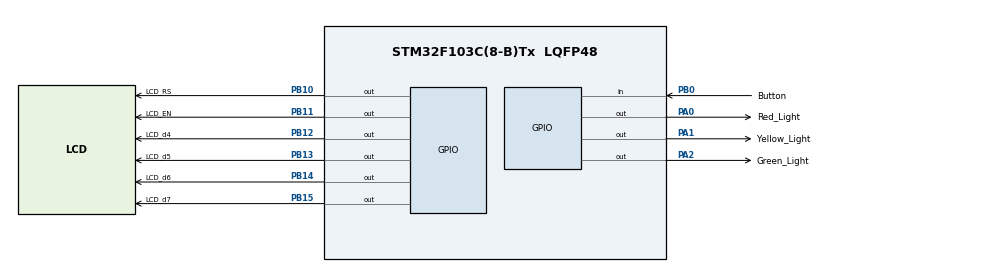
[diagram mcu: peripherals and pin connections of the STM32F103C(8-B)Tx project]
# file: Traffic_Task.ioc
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Mcu.Family=STM32F1
Mcu.Name=STM32F103C(8-B)Tx
Mcu.Package=LQFP48
NVIC.PriorityGroup=NVIC_PRIORITYGROUP_4
PA0-WKUP.GPIO_Label=Red_Light
PA0-WKUP.Signal=GPIO_Output
PA1.GPIO_Label=Yellow_Light
PA1.Signal=GPIO_Output
PA2.GPIO_Label=Green_Light
PA2.Signal=GPIO_Output
PB0.GPIO_Label=Button
PB0.Signal=GPIO_Input
PB10.GPIO_Label=LCD_RS
PB10.Signal=GPIO_Output
PB11.GPIO_Label=LCD_EN
PB11.Signal=GPIO_Output
PB12.GPIO_Label=LCD_d4
PB12.Signal=GPIO_Output
PB13.GPIO_Label=LCD_d5
PB13.Signal=GPIO_Output
PB14.GPIO_Label=LCD_d6
PB14.Signal=GPIO_Output
PB15.GPIO_Label=LCD_d7
PB15.Signal=GPIO_Output
ProjectManager.HeapSize=0x200
ProjectManager.StackSize=0x400
ProjectManager.TargetToolchain=STM32CubeIDE
RCC.APB1Freq_Value=8000000
RCC.APB2Freq_Value=8000000
board=custom

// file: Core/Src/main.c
/* USER CODE BEGIN Header */
/**
  ******************************************************************************
  * @file           : main.c
  * @brief          : Main program body
  ******************************************************************************
  * @attention
  *
  * Copyright (c) 2025 STMicroelectronics.
  * All rights reserved.
  *
  * This software is licensed under terms that can be found in the LICENSE file
  * in the root directory of this software component.
  * If no LICENSE file comes with this software, it is provided AS-IS.
  *
  ******************************************************************************
  */
/* USER CODE END Header */
#include "main.h"
#include "../../ECUAL/LCD16X2/LCD16X2.h"

void SystemClock_Config(void);
static void MX_GPIO_Init(void);

int main(void)
{

  /* MCU Configuration--------------------------------------------------------*/

  /* Reset of all peripherals, Initializes the Flash interface and the Systick. */
  HAL_Init();

  /* Configure the system clock */
  SystemClock_Config();

  /* Initialize all configured peripherals */
  MX_GPIO_Init();
  /* USER CODE BEGIN 2 */
 LCD16X2_Init(LCD16X2_1);
 LCD16X2_Clear(LCD16X2_1);
 LCD16X2_Set_Cursor(LCD16X2_1, 0, 0);
 LCD16X2_Write_String(LCD16X2_1,"System OFF");
  /* USER CODE END 2 */

  /* Infinite loop */
  while (1)
  {

    /* USER CODE BEGIN 3 */
	  if (HAL_GPIO_ReadPin(Button_GPIO_Port, Button_Pin) == 1)
	  {
		  HAL_GPIO_WritePin(Red_Light_GPIO_Port,Red_Light_Pin,1);
		  LCD16X2_Clear(LCD16X2_1);
		   LCD16X2_Set_Cursor(LCD16X2_1, 0, 0);
		   LCD16X2_Write_String(LCD16X2_1,"Red Light!");
		   HAL_Delay(2000);
		   HAL_GPIO_WritePin(Red_Light_GPIO_Port,Red_Light_Pin,0);

		   HAL_GPIO_WritePin(Yellow_Light_GPIO_Port,Yellow_Light_Pin,1);
		   		   LCD16X2_Clear(LCD16X2_1);
		   		   LCD16X2_Set_Cursor(LCD16X2_1, 0, 0);
		   		   LCD16X2_Write_String(LCD16X2_1,"Yellow Light!");
		   		   HAL_Delay(2000);
		   		   HAL_GPIO_WritePin(Yellow_Light_GPIO_Port,Yellow_Light_Pin,0);

		   		HAL_GPIO_WritePin(Green_Light_GPIO_Port,Green_Light_Pin,1);
		   				   		   LCD16X2_Clear(LCD16X2_1);
		   				   		   LCD16X2_Set_Cursor(LCD16X2_1, 0, 0);
		   				   		   LCD16X2_Write_String(LCD16X2_1,"Green Light!");
		   				   		   HAL_Delay(2000);
		   				   		   HAL_GPIO_WritePin(Green_Light_GPIO_Port,Green_Light_Pin,0);
		   				   		   LCD16X2_Clear(LCD16X2_1);

		   				   		LCD16X2_Write_String(LCD16X2_1,"System OFF");

	  }
	  else {HAL_GPIO_WritePin(Red_Light_GPIO_Port,Red_Light_Pin,0);
		   HAL_GPIO_WritePin(Yellow_Light_GPIO_Port,Yellow_Light_Pin,0);
		   HAL_GPIO_WritePin(Green_Light_GPIO_Port,Green_Light_Pin,0);}
  }
  /* USER CODE END 3 */
}

void SystemClock_Config(void)
{
  RCC_OscInitTypeDef RCC_OscInitStruct = {0};
  RCC_ClkInitTypeDef RCC_ClkInitStruct = {0};

  /** Initializes the RCC Oscillators according to the specified parameters
  * in the RCC_OscInitTypeDef structure.
  */
  RCC_OscInitStruct.OscillatorType = RCC_OSCILLATORTYPE_HSI;
  RCC_OscInitStruct.HSIState = RCC_HSI_ON;
  RCC_OscInitStruct.HSICalibrationValue = RCC_HSICALIBRATION_DEFAULT;
  RCC_OscInitStruct.PLL.PLLState = RCC_PLL_NONE;
  if (HAL_RCC_OscConfig(&RCC_OscInitStruct) != HAL_OK)
  {
    Error_Handler();
  }

  /** Initializes the CPU, AHB and APB buses clocks
  */
  RCC_ClkInitStruct.ClockType = RCC_CLOCKTYPE_HCLK|RCC_CLOCKTYPE_SYSCLK
                              |RCC_CLOCKTYPE_PCLK1|RCC_CLOCKTYPE_PCLK2;
  RCC_ClkInitStruct.SYSCLKSource = RCC_SYSCLKSOURCE_HSI;
  RCC_ClkInitStruct.AHBCLKDivider = RCC_SYSCLK_DIV1;
  RCC_ClkInitStruct.APB1CLKDivider = RCC_HCLK_DIV1;
  RCC_ClkInitStruct.APB2CLKDivider = RCC_HCLK_DIV1;

  if (HAL_RCC_ClockConfig(&RCC_ClkInitStruct, FLASH_LATENCY_0) != HAL_OK)
  {
    Error_Handler();
  }
}

static void MX_GPIO_Init(void)
{
  GPIO_InitTypeDef GPIO_InitStruct = {0};

  /* GPIO Ports Clock Enable */
  __HAL_RCC_GPIOA_CLK_ENABLE();
  __HAL_RCC_GPIOB_CLK_ENABLE();

  /*Configure GPIO pin Output Level */
  HAL_GPIO_WritePin(GPIOA, Red_Light_Pin|Yellow_Light_Pin|Green_Light_Pin, GPIO_PIN_RESET);

  /*Configure GPIO pin Output Level */
  HAL_GPIO_WritePin(GPIOB, LCD_RS_Pin|LCD_EN_Pin|LCD_d4_Pin|LCD_d5_Pin
                          |LCD_d6_Pin|LCD_d7_Pin, GPIO_PIN_RESET);

  /*Configure GPIO pins : Red_Light_Pin Yellow_Light_Pin Green_Light_Pin */
  GPIO_InitStruct.Pin = Red_Light_Pin|Yellow_Light_Pin|Green_Light_Pin;
  GPIO_InitStruct.Mode = GPIO_MODE_OUTPUT_PP;
  GPIO_InitStruct.Pull = GPIO_NOPULL;
  GPIO_InitStruct.Speed = GPIO_SPEED_FREQ_LOW;
  HAL_GPIO_Init(GPIOA, &GPIO_InitStruct);

  /*Configure GPIO pin : Button_Pin */
  GPIO_InitStruct.Pin = Button_Pin;
  GPIO_InitStruct.Mode = GPIO_MODE_INPUT;
  GPIO_InitStruct.Pull = GPIO_NOPULL;
  HAL_GPIO_Init(Button_GPIO_Port, &GPIO_InitStruct);

  /*Configure GPIO pins : LCD_RS_Pin LCD_EN_Pin LCD_d4_Pin LCD_d5_Pin
                           LCD_d6_Pin LCD_d7_Pin */
  GPIO_InitStruct.Pin = LCD_RS_Pin|LCD_EN_Pin|LCD_d4_Pin|LCD_d5_Pin
                          |LCD_d6_Pin|LCD_d7_Pin;
  GPIO_InitStruct.Mode = GPIO_MODE_OUTPUT_PP;
  GPIO_InitStruct.Pull = GPIO_NOPULL;
  GPIO_InitStruct.Speed = GPIO_SPEED_FREQ_LOW;
  HAL_GPIO_Init(GPIOB, &GPIO_InitStruct);

}

void Error_Handler(void)
{
  __disable_irq();
  while (1)
  {
  }
}
